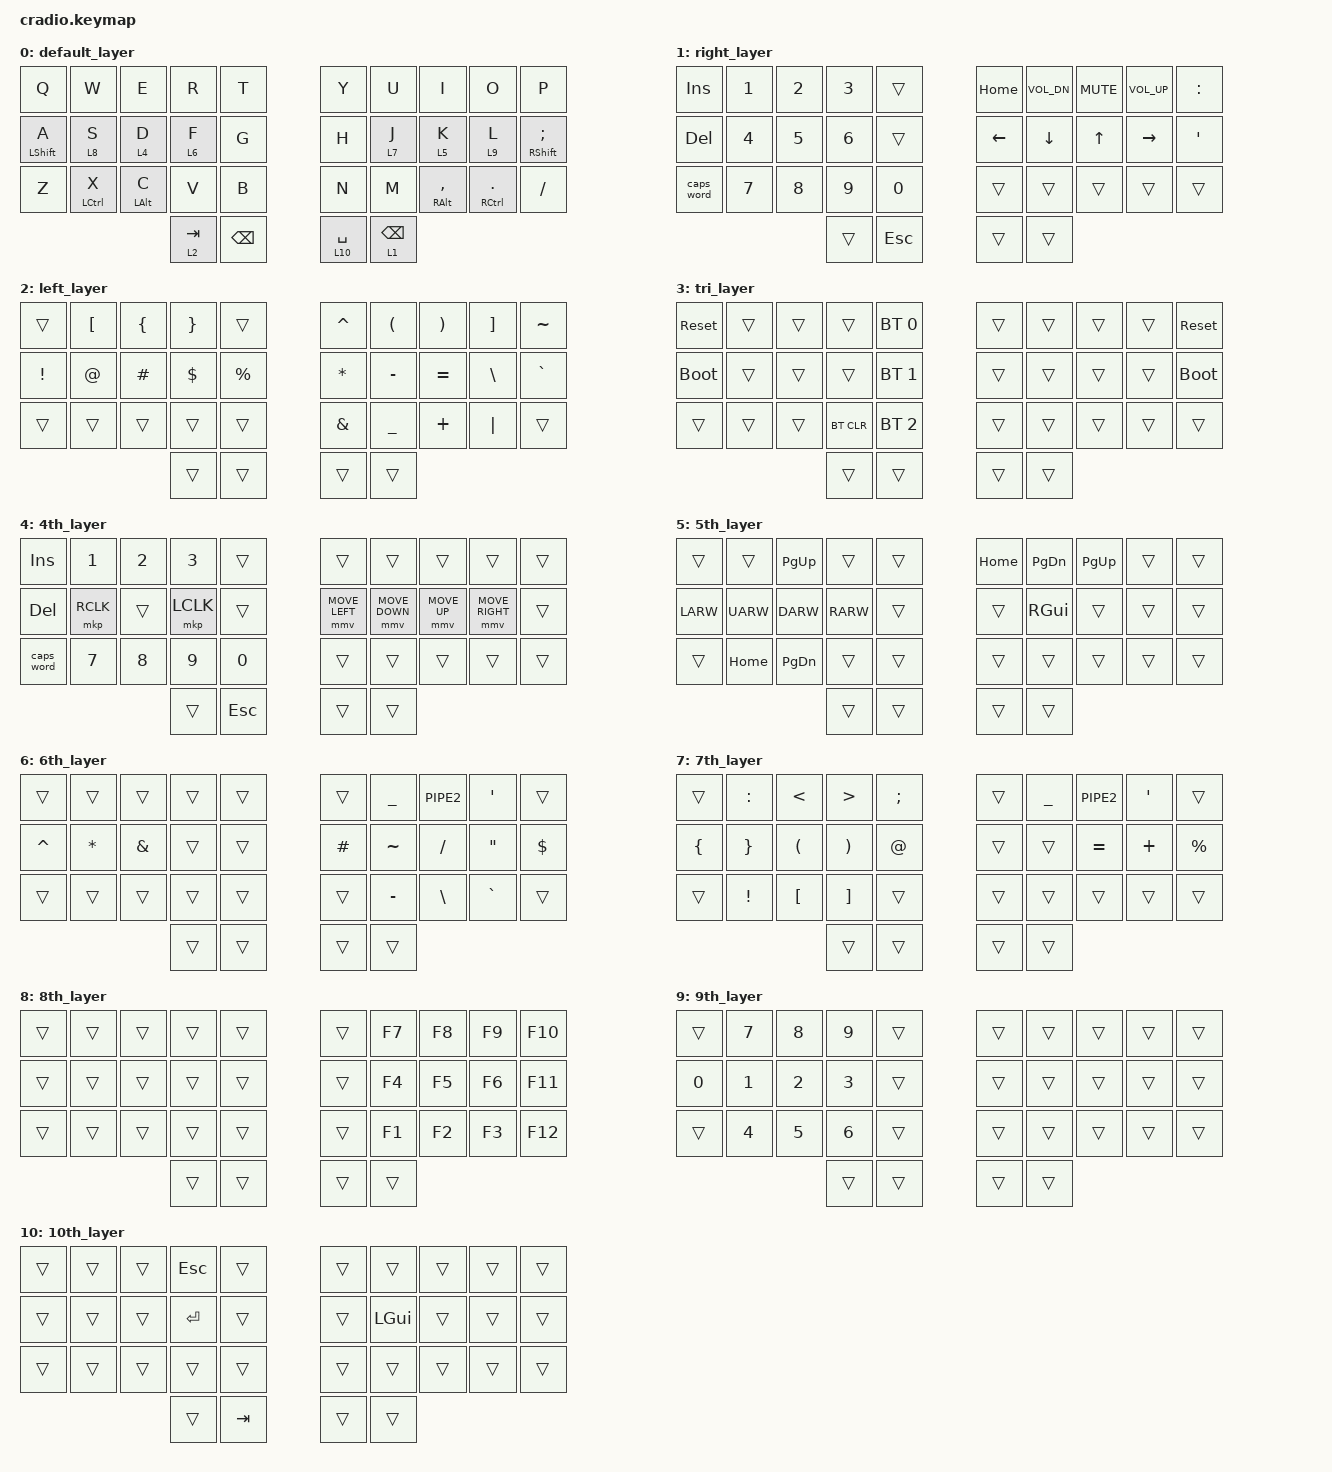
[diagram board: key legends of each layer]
// Copyright (c) 2022 The ZMK Contributors
// SPDX-License-Identifier: MIT
#include <behaviors.dtsi>
#include <dt-bindings/zmk/keys.h>
#include <dt-bindings/zmk/bt.h>
#include <dt-bindings/zmk/mouse.h>
// Home row mods macro
// #define HRML(k1,k2,k3,k4) &ht LSHFT k1  &ht LALT k2  &ht LCTRL k3  &ht LGUI k4
// #define HRMR(k1,k2,k3,k4) &ht RGUI k1  &ht RCTRL k2  &ht RALT k3  &ht RSHFT k4
/ {
    behaviors {
        ht: hold_tap {
            compatible = "zmk,behavior-hold-tap";
            #binding-cells = <2>;
            flavor = "tap-preferred";
            tapping-term-ms = <220>;
            quick-tap-ms = <150>;
            require-prior-idle-ms = <100>;
            bindings = <&kp>, <&kp>;
        };
    };
    conditional_layers {
        compatible = "zmk,conditional-layers";
        tri_layer {
            if-layers = <1 2>;
            then-layer = <3>;
        };
    };
    keymap {
        compatible = "zmk,keymap";
        default_layer {
            bindings = <
        //╭──────────┬──────────┬──────────┬──────────┬──────────╮   ╭──────────┬──────────┬──────────┬──────────┬──────────╮
        //│  Q       │  W       │  E       │  R       │  T       │   │  Y       │  U       │  I       │  O       │  P       │
            &kp Q      &kp W      &kp E      &kp R      &kp T          &kp Y      &kp U      &kp I      &kp O      &kp P
        //├──────────┼──────────┼──────────┼──────────┼──────────┤   ├──────────┼──────────┼──────────┼──────────┼──────────┤
        //│  A       │  S       │  D       │  F       │  G       │   │  H       │  J       │  K       │  L       │ ;        │
            &ht LSHFT A &lt 8 S  &lt 4 D    &lt 6 F     &kp G         &kp H      &lt 7 J    &lt 5 K    &lt  9 L    &ht RSHFT SEMI
        //├──────────┼──────────┼──────────┼──────────┼──────────┤   ├──────────┼──────────┼──────────┼──────────┼──────────┤
        //│  Z       │  X       │  C       │  V       │  B       │   │  N       │  M       │ , <      │ . >      │ / ?      │
            &kp Z    &ht LCTRL X  &ht LALT C    &kp V      &kp B      &kp N      &kp M   &ht RALT COMMA  &ht RCTRL DOT    &kp FSLH
        //╰──────────┴──────────┴──────────┼──────────┼──────────┤   ├──────────┼──────────┼──────────┴──────────┴──────────╯
                                            &lt 2 TAB   &kp BSPC     &lt 10 SPACE  &lt 1 BSPC
        //                                 ╰──────────┴──────────╯   ╰──────────┴──────────╯
            >;
        };
        right_layer {
            bindings = <
        //╭──────────┬──────────┬──────────┬──────────┬──────────╮   ╭──────────┬──────────┬──────────┬──────────┬──────────╮
        //│ INSERT   │  1       │  2       │  3       │          │   │ HOME     │ VOL  DN  │ MUTE     │ VOL UP   │  :       │
            &kp INS    &kp N1     &kp N2     &kp N3     &trans         &kp HOME   &kp C_VOL_DN  &kp C_MUTE  &kp C_VOL_UP    &kp COLON
        //├──────────┼──────────┼──────────┼──────────┼──────────┤   ├──────────┼──────────┼──────────┼──────────┼──────────┤
        //│ DELETE   │  4       │  5       │  6       │          │   │ LEFT     │ DOWN     │ UP       │ RIGHT    │  ' "     │
            &kp DEL    &kp N4     &kp N5     &kp N6     &trans         &kp LEFT   &kp DOWN   &kp UP     &kp RIGHT  &kp SQT
        //├──────────┼──────────┼──────────┼──────────┼──────────┤   ├──────────┼──────────┼──────────┼──────────┼──────────┤
        //│ CAPS     │  7       │  8       │  9       │  0       │   │          │          │          │          │          │
           &caps_word  &kp N7     &kp N8     &kp N9     &kp N0         &trans     &trans     &trans     &trans     &trans
         //╰──────────┴──────────┴──────────┼──────────┼──────────┤   ├──────────┼──────────┼──────────┴──────────┴──────────╯
                                             &trans     &kp ESC        &trans     &trans
        //                                 ╰──────────┴──────────╯   ╰──────────┴──────────╯
            >;
        };
        left_layer {
            bindings = <
        //╭──────────┬──────────┬──────────┬──────────┬──────────╮   ╭──────────┬──────────┬──────────┬──────────┬──────────╮
        //│          │  [       │  {       │  }       │          │   │  ^       │  (       │  )       │  ]       │  ~       │
            &trans     &kp LBKT   &kp LBRC   &kp RBRC   &trans         &kp CARET  &kp LPAR   &kp RPAR   &kp RBKT   &kp TILDE
        //├──────────┼──────────┼──────────┼──────────┼──────────┤   ├──────────┼──────────┼──────────┼──────────┼──────────┤
        //│  !       │  @       │  #       │  $       │  %       │   │  *       │  -       │  =       │  \       │  `       │
            &kp EXCL   &kp AT     &kp HASH   &kp DLLR   &kp PRCNT      &kp ASTRK  &kp MINUS  &kp EQUAL  &kp BSLH   &kp GRAVE
        //├──────────┼──────────┼──────────┼──────────┼──────────┤   ├──────────┼──────────┼──────────┼──────────┼──────────┤
        //│          │          │          │          │          │   │  &       │  _       │  +       │  │       │          │
            &trans     &trans     &trans     &trans     &trans         &kp AMPS   &kp UNDER  &kp PLUS   &kp PIPE   &trans
        //╰──────────┴──────────┴──────────┼──────────┼──────────┤   ├──────────┼──────────┼──────────┴──────────┴──────────╯
                                             &trans     &trans         &trans     &trans
        //                                 ╰──────────┴──────────╯   ╰──────────┴──────────╯
            >;
        };
        tri_layer {
            bindings = <
        //╭──────────┬──────────┬──────────┬──────────┬──────────╮   ╭──────────┬──────────┬──────────┬──────────┬──────────╮
        //│ RESET    │          │          │          │PROFILE 0 │   │          │          │          │          │  RESET   │
           &sys_reset  &trans     &trans     &trans    &bt BT_SEL 0    &trans     &trans     &trans     &trans    &sys_reset
        //├──────────┼──────────┼──────────┼──────────┼──────────┤   ├──────────┼──────────┼──────────┼──────────┼──────────┤
        //│BOOTLOADER│          │          │          │PROFILE 1 │   │          │          │          │          │BOOTLOADER│
          &bootloader  &trans     &trans     &trans    &bt BT_SEL 1    &trans     &trans     &trans     &trans    &bootloader
        //├──────────┼──────────┼──────────┼──────────┼──────────┤   ├──────────┼──────────┼──────────┼──────────┼──────────┤
        //│          │          │          │ CLEAR BT │PROFILE 2 │   │          │          │          │          │          │
            &trans     &trans     &trans    &bt BT_CLR &bt BT_SEL 2    &trans     &trans     &trans     &trans     &trans
        //╰──────────┴──────────┴──────────┼──────────┼──────────┤   ├──────────┼──────────┼──────────┴──────────┴──────────╯
                                             &trans     &trans         &trans     &trans
        //                                 ╰──────────┴──────────╯   ╰──────────┴──────────╯
            >;
        };
        4th_layer {
            bindings = <
        //╭──────────┬──────────┬──────────┬──────────┬──────────╮   ╭──────────┬──────────┬──────────┬──────────┬──────────╮
        //│ INSERT   │  1       │  2       │  3       │          │   │          │          │          │          │          │
            &kp INS    &kp N1     &kp N2     &kp N3     &trans         &trans     &trans      &trans     &trans    &trans
        //├──────────┼──────────┼──────────┼──────────┼──────────┤   ├──────────┼──────────┼──────────┼──────────┼──────────┤
        //│ DELETE   │ RCLICK   │          │ LCLICK   │          │   │ MV LEFT  │ MV DOWN  │ MV UP    │ MV RIGHT │          │
            &kp DEL   &mkp RCLK   &trans    &mkp LCLK  &trans         &mmv MOVE_LEFT  &mmv MOVE_DOWN &mmv MOVE_UP &mmv MOVE_RIGHT &trans
        //├──────────┼──────────┼──────────┼──────────┼──────────┤   ├──────────┼──────────┼──────────┼──────────┼──────────┤
        //│ CAPS     │  7       │  8       │  9       │  0       │   │          │          │          │          │          │
           &caps_word  &kp N7     &kp N8     &kp N9     &kp N0         &trans     &trans     &trans     &trans     &trans
        //╰──────────┴──────────┴──────────┼──────────┼──────────┤   ├──────────┼──────────┼──────────┴──────────┴──────────╯
                                             &trans     &kp ESC        &trans     &trans
        //                                 ╰──────────┴──────────╯   ╰──────────┴──────────╯
            >;
        };
        5th_layer {
            bindings = <
        //╭──────────┬──────────┬──────────┬──────────┬──────────╮   ╭──────────┬──────────┬──────────┬──────────┬──────────╮
        //│          │          │ PAGE UP  │          │          │   │ HOME     │ PAGE DN  │ PAGE UP  │          │          │
            &trans     &trans     &kp PG_UP  &trans     &trans         &kp HOME   &kp PG_DN  &kp PG_UP  &trans     &trans
        //├──────────┼──────────┼──────────┼──────────┼──────────┤   ├──────────┼──────────┼──────────┼──────────┼──────────┤
        //│ LEFT     │ UP       │ DOWN     │ RIGHT    │          │   │          │ RGUI     │          │          │          │
            &kp LARW   &kp UARW   &kp DARW   &kp RARW   &trans         &trans     &kp RGUI   &trans     &trans     &trans
        //├──────────┼──────────┼──────────┼──────────┼──────────┤   ├──────────┼──────────┼──────────┼──────────┼──────────┤
        //│          │ HOME     │ PAGE DN  │          │          │   │          │          │          │          │          │
            &trans     &kp HOME   &kp PG_DN  &trans     &trans         &trans     &trans     &trans     &trans     &trans
        //╰──────────┴──────────┴──────────┼──────────┼──────────┤   ├──────────┼──────────┼──────────┴──────────┴──────────╯
                                             &trans     &trans         &trans     &trans
        //                                 ╰──────────┴──────────╯   ╰──────────┴──────────╯
            >;
        };
        6th_layer {
            bindings = <
        //╭──────────┬──────────┬──────────┬──────────┬──────────╮   ╭──────────┬──────────┬──────────┬──────────┬──────────╮
        //│          │          │          │          │          │   │          │  _       │  |       │  '       │          │
            &trans     &trans     &trans     &trans     &trans         &trans     &kp UNDER  &kp PIPE2  &kp APOS   &trans
        //├──────────┼──────────┼──────────┼──────────┼──────────┤   ├──────────┼──────────┼──────────┼──────────┼──────────┤
        //│  ^       │  *       │  &       │          │          │   │  #       │  ~       │  /       │  "       │  $       │
            &kp CARET  &kp STAR   &kp AMPS   &trans     &trans         &kp HASH   &kp TILDE  &kp FSLH   &kp DQT    &kp DLLR
        //├──────────┼──────────┼──────────┼──────────┼──────────┤   ├──────────┼──────────┼──────────┼──────────┼──────────┤
        //│          │          │          │          │          │   │          │  -       │  \       │  `       │          │
            &trans     &trans     &trans     &trans     &trans         &trans     &kp MINUS  &kp BSLH   &kp GRAVE  &trans
        //╰──────────┴──────────┴──────────┼──────────┼──────────┤   ├──────────┼──────────┼──────────┴──────────┴──────────╯
                                             &trans     &trans         &trans     &trans
        //                                 ╰──────────┴──────────╯   ╰──────────┴──────────╯
            >;
        };
        7th_layer {
            bindings = <
        //╭──────────┬──────────┬──────────┬──────────┬──────────╮   ╭──────────┬──────────┬──────────┬──────────┬──────────╮
        //│          │  :       │  <       │  >       │  ;       │   │          │  _       │  |       │  '       │          │
            &trans     &kp COLON  &kp LT     &kp GT     &kp SEMI       &trans     &kp UNDER  &kp PIPE2  &kp APOS   &trans
        //├──────────┼──────────┼──────────┼──────────┼──────────┤   ├──────────┼──────────┼──────────┼──────────┼──────────┤
        //│  {       │  }       │  (       │  )       │  @       │   │          │          │  =       │  +       │  %       │
            &kp LBRC   &kp RBRC   &kp LPAR   &kp RPAR   &kp AT         &trans     &trans     &kp EQUAL  &kp PLUS   &kp PRCNT
        //├──────────┼──────────┼──────────┼──────────┼──────────┤   ├──────────┼──────────┼──────────┼──────────┼──────────┤
        //│          │  !       │  [       │  ]       │          │   │          │          │          │          │          │
            &trans     &kp EXCL   &kp LBKT   &kp RBKT   &trans         &trans     &trans     &trans     &trans     &trans
        //╰──────────┴──────────┴──────────┼──────────┼──────────┤   ├──────────┼──────────┼──────────┴──────────┴──────────╯
                                             &trans     &trans         &trans     &trans
        //                                 ╰──────────┴──────────╯   ╰──────────┴──────────╯
            >;
        };
        8th_layer {
            bindings = <
        //╭──────────┬──────────┬──────────┬──────────┬──────────╮   ╭──────────┬──────────┬──────────┬──────────┬──────────╮
        //│          │          │          │          │          │   │          │  F7      │  F8      │  F9      │  F10     │
            &trans     &trans     &trans     &trans     &trans         &trans     &kp F7     &kp F8     &kp F9     &kp F10
        //├──────────┼──────────┼──────────┼──────────┼──────────┤   ├──────────┼──────────┼──────────┼──────────┼──────────┤
        //│          │          │          │          │          │   │          │  F4      │  F5      │  F6      │  F11     │
            &trans     &trans     &trans     &trans     &trans         &trans     &kp F4     &kp F5     &kp F6     &kp F11
        //├──────────┼──────────┼──────────┼──────────┼──────────┤   ├──────────┼──────────┼──────────┼──────────┼──────────┤
        //│          │          │          │          │          │   │          │  F1      │  F2      │  F3      │  F12     │
            &trans     &trans     &trans     &trans     &trans         &trans     &kp F1     &kp F2     &kp F3     &kp F12
        //╰──────────┴──────────┴──────────┼──────────┼──────────┤   ├──────────┼──────────┼──────────┴──────────┴──────────╯
                                             &trans     &trans         &trans     &trans
        //                                 ╰──────────┴──────────╯   ╰──────────┴──────────╯
            >;
        };
        9th_layer {
            bindings = <
        //╭──────────┬──────────┬──────────┬──────────┬──────────╮   ╭──────────┬──────────┬──────────┬──────────┬──────────╮
        //│          │  7       │  8       │  9       │          │   │          │          │          │          │          │
            &trans     &kp N7     &kp N8     &kp N9     &trans         &trans     &trans     &trans     &trans     &trans
        //├──────────┼──────────┼──────────┼──────────┼──────────┤   ├──────────┼──────────┼──────────┼──────────┼──────────┤
        //│  0       │  1       │  2       │  3       │          │   │          │          │          │          │          │
            &kp N0     &kp N1     &kp N2     &kp N3     &trans         &trans     &trans     &trans     &trans     &trans
        //├──────────┼──────────┼──────────┼──────────┼──────────┤   ├──────────┼──────────┼──────────┼──────────┼──────────┤
        //│          │  4       │  5       │  6       │          │   │          │          │          │          │          │
            &trans     &kp N4     &kp N5     &kp N6     &trans         &trans     &trans     &trans     &trans     &trans
        //╰──────────┴──────────┴──────────┼──────────┼──────────┤   ├──────────┼──────────┼──────────┴──────────┴──────────╯
                                             &trans     &trans         &trans     &trans
        //                                 ╰──────────┴──────────╯   ╰──────────┴──────────╯
            >;
        };
        10th_layer {
            bindings = <
        //╭──────────┬──────────┬──────────┬──────────┬──────────╮   ╭──────────┬──────────┬──────────┬──────────┬──────────╮
        //│          │          │          │ ESC      │          │   │          │          │          │          │          │
            &trans     &trans     &trans     &kp ESC    &trans         &trans     &trans     &trans     &trans     &trans
        //├──────────┼──────────┼──────────┼──────────┼──────────┤   ├──────────┼──────────┼──────────┼──────────┼──────────┤
        //│          │          │          │ RETURN   │          │   │          │ LGUI     │          │          │          │
            &trans     &trans     &trans     &kp RETURN &trans         &trans     &kp LGUI   &trans     &trans     &trans
        //├──────────┼──────────┼──────────┼──────────┼──────────┤   ├──────────┼──────────┼──────────┼──────────┼──────────┤
        //│          │          │          │          │          │   │          │          │          │          │          │
            &trans     &trans     &trans     &trans     &trans         &trans     &trans     &trans     &trans     &trans
        //╰──────────┴──────────┴──────────┼──────────┼──────────┤   ├──────────┼──────────┼──────────┴──────────┴──────────╯
                                             &trans     &kp TAB        &trans     &trans
        //                                 ╰──────────┴──────────╯   ╰──────────┴──────────╯
            >;
        };
    };
};
